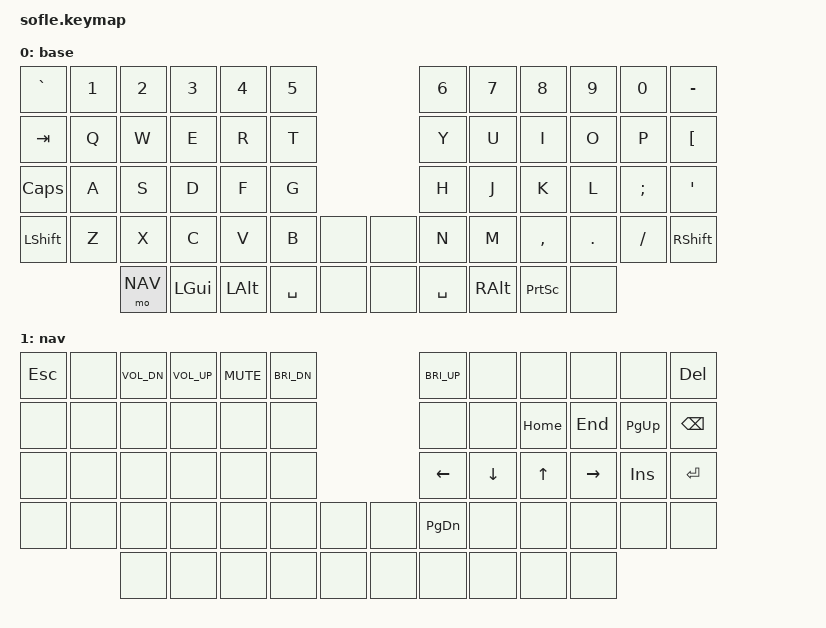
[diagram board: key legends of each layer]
/*
 * Copyright (c) 2020 The ZMK Contributors
 *
 * SPDX-License-Identifier: MIT
 */

#include <behaviors.dtsi>
#include <dt-bindings/zmk/keys.h>
#define BASE 0
#define NAV 1

/ {
    keymap {
        compatible = "zmk,keymap";

        base_layer {
            display-name = "base";
            bindings = <
&kp GRAVE        &kp N1           &kp N2           &kp N3           &kp N4           &kp N5                                        &kp N6           &kp N7           &kp N8           &kp N9           &kp N0           &kp MINUS
&kp TAB          &kp Q            &kp W            &kp E            &kp R            &kp T                                         &kp Y            &kp U            &kp I            &kp O            &kp P            &kp LBKT
&kp CAPS         &kp A            &kp S            &kp D            &kp F            &kp G                                         &kp H            &kp J            &kp K            &kp L            &kp SEMI         &kp SQT
&kp LSHFT        &kp Z            &kp X            &kp C            &kp V            &kp B            &none            &none       &kp N            &kp M            &kp COMMA        &kp DOT          &kp FSLH         &kp RSHFT
                                  &mo NAV          &kp LGUI         &kp LALT         &kp SPACE        &none            &none       &kp SPACE        &kp RALT         &kp PSCRN        &none
            >;
        };

        nav_layer {
            display-name = "nav";
            bindings = <
&kp ESC          &none            &kp C_VOL_DN     &kp C_VOL_UP     &kp C_MUTE       &kp C_BRI_DN                                  &kp C_BRI_UP     &none            &none            &none            &none            &kp DEL
&none            &none            &none            &none            &none            &none                                         &none            &none            &kp HOME         &kp END          &kp PG_UP        &kp BSPC
&none            &none            &none            &none            &none            &none                                         &kp LEFT         &kp DOWN         &kp UP           &kp RIGHT        &kp INS          &kp ENTER
&none            &none            &none            &none            &none            &none            &none            &none       &kp PG_DN        &none            &none            &none            &none            &none
                                  &none            &none            &none            &none            &none            &none       &none            &none            &none            &none
            >;
        };
    };
};
